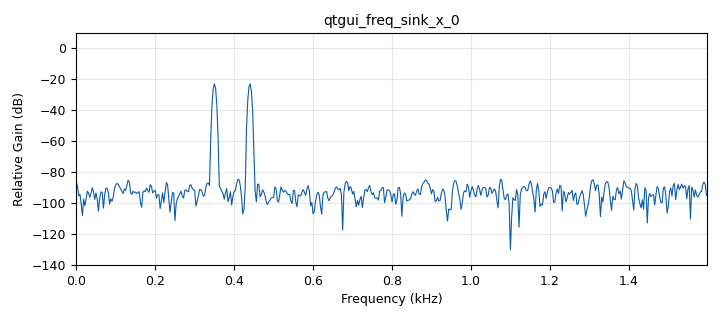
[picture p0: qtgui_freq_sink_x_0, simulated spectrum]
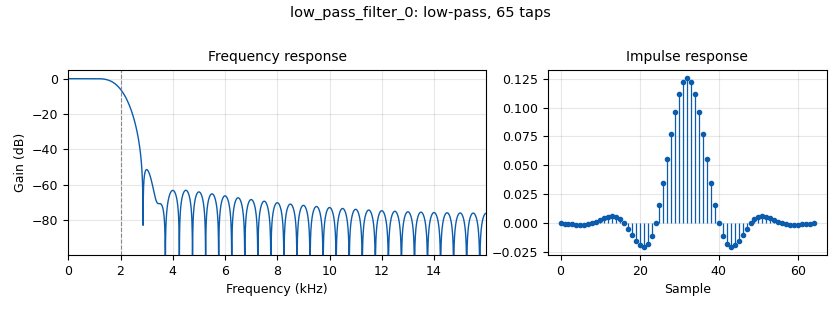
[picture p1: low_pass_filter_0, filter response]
<?xml version='1.0' encoding='utf-8'?>
<?grc format='1' created='3.7.10'?>
<flow_graph>
<block>
<key>options</key>
<param><key>id</key><value>dial_tone_interactive</value></param>
<param><key>author</key><value>Ettus Research</value></param>
<param><key>category</key><value>Custom</value></param>
<param><key>description</key><value>Interactive Dial Tone Example</value></param>
<param><key>generate_options</key><value>qt_gui</value></param>
<param><key>title</key><value>Dial Tone Interactive GUI</value></param>
</block>
<block>
<key>variable_qtgui_range</key>
<param><key>id</key><value>ampl</value></param>
<param><key>value</key><value>.4</value></param>
<param><key>gui_hint</key><value>0, 0, 1, 3</value></param>
<param><key>label</key><value>Volume</value></param>
<param><key>orient</key><value>Qt.Horizontal</value></param>
<param><key>start</key><value>0</value></param>
<param><key>step</key><value>.001</value></param>
<param><key>stop</key><value>.5</value></param>
</block>
<block>
<key>variable_qtgui_push_button</key>
<param><key>id</key><value>btn_eight</value></param>
<param><key>value</key><value>0</value></param>
<param><key>gui_hint</key><value>4, 2, 1, 2</value></param>
<param><key>label</key><value>8</value></param>
<param><key>pressed</key><value>1</value></param>
<param><key>released</key><value>0</value></param>
<param><key>type</key><value>int</value></param>
</block>
<block>
<key>variable_qtgui_push_button</key>
<param><key>id</key><value>btn_five</value></param>
<param><key>value</key><value>0</value></param>
<param><key>gui_hint</key><value>3, 2, 1, 2</value></param>
<param><key>label</key><value>5</value></param>
<param><key>pressed</key><value>1</value></param>
<param><key>released</key><value>0</value></param>
<param><key>type</key><value>int</value></param>
</block>
<block>
<key>variable_qtgui_push_button</key>
<param><key>id</key><value>btn_four</value></param>
<param><key>value</key><value>0</value></param>
<param><key>gui_hint</key><value>3, 0, 1, 2</value></param>
<param><key>label</key><value>4</value></param>
<param><key>pressed</key><value>1</value></param>
<param><key>released</key><value>0</value></param>
<param><key>type</key><value>int</value></param>
</block>
<block>
<key>variable_qtgui_push_button</key>
<param><key>id</key><value>btn_nine</value></param>
<param><key>value</key><value>0</value></param>
<param><key>gui_hint</key><value>4, 4, 1, 2</value></param>
<param><key>label</key><value>9</value></param>
<param><key>pressed</key><value>1</value></param>
<param><key>released</key><value>0</value></param>
<param><key>type</key><value>int</value></param>
</block>
<block>
<key>variable_qtgui_push_button</key>
<param><key>id</key><value>btn_one</value></param>
<param><key>value</key><value>0</value></param>
<param><key>gui_hint</key><value>2, 0, 1, 2</value></param>
<param><key>label</key><value>1</value></param>
<param><key>pressed</key><value>1</value></param>
<param><key>released</key><value>0</value></param>
<param><key>type</key><value>int</value></param>
</block>
<block>
<key>variable_qtgui_push_button</key>
<param><key>id</key><value>btn_pound</value></param>
<param><key>value</key><value>0</value></param>
<param><key>gui_hint</key><value>5, 4, 1, 2</value></param>
<param><key>label</key><value>#</value></param>
<param><key>pressed</key><value>1</value></param>
<param><key>released</key><value>0</value></param>
<param><key>type</key><value>int</value></param>
</block>
<block>
<key>variable_qtgui_push_button</key>
<param><key>id</key><value>btn_seven</value></param>
<param><key>value</key><value>0</value></param>
<param><key>gui_hint</key><value>4, 0, 1, 2</value></param>
<param><key>label</key><value>7</value></param>
<param><key>pressed</key><value>1</value></param>
<param><key>released</key><value>0</value></param>
<param><key>type</key><value>int</value></param>
</block>
<block>
<key>variable_qtgui_push_button</key>
<param><key>id</key><value>btn_six</value></param>
<param><key>value</key><value>0</value></param>
<param><key>gui_hint</key><value>3, 4, 1, 2</value></param>
<param><key>label</key><value>6</value></param>
<param><key>pressed</key><value>1</value></param>
<param><key>released</key><value>0</value></param>
<param><key>type</key><value>int</value></param>
</block>
<block>
<key>variable_qtgui_push_button</key>
<param><key>id</key><value>btn_star</value></param>
<param><key>value</key><value>0</value></param>
<param><key>gui_hint</key><value>5, 0, 1, 2</value></param>
<param><key>label</key><value>*</value></param>
<param><key>pressed</key><value>1</value></param>
<param><key>released</key><value>0</value></param>
<param><key>type</key><value>int</value></param>
</block>
<block>
<key>variable_qtgui_push_button</key>
<param><key>id</key><value>btn_three</value></param>
<param><key>value</key><value>0</value></param>
<param><key>gui_hint</key><value>2, 4, 1, 2</value></param>
<param><key>label</key><value>3</value></param>
<param><key>pressed</key><value>1</value></param>
<param><key>released</key><value>0</value></param>
<param><key>type</key><value>int</value></param>
</block>
<block>
<key>variable_qtgui_push_button</key>
<param><key>id</key><value>btn_two</value></param>
<param><key>value</key><value>0</value></param>
<param><key>gui_hint</key><value>2, 2, 1, 2</value></param>
<param><key>label</key><value>2</value></param>
<param><key>pressed</key><value>1</value></param>
<param><key>released</key><value>0</value></param>
<param><key>type</key><value>int</value></param>
</block>
<block>
<key>variable_qtgui_push_button</key>
<param><key>id</key><value>btn_zero</value></param>
<param><key>value</key><value>0</value></param>
<param><key>gui_hint</key><value>5, 2, 1, 2</value></param>
<param><key>label</key><value>0</value></param>
<param><key>pressed</key><value>1</value></param>
<param><key>released</key><value>0</value></param>
<param><key>type</key><value>int</value></param>
</block>
<block>
<key>variable</key>
<param><key>id</key><value>c1</value></param>
<param><key>value</key><value>1209</value></param>
</block>
<block>
<key>variable</key>
<param><key>id</key><value>c2</value></param>
<param><key>value</key><value>1336</value></param>
</block>
<block>
<key>variable</key>
<param><key>id</key><value>c3</value></param>
<param><key>value</key><value>1477</value></param>
</block>
<block>
<key>variable</key>
<param><key>id</key><value>dial_tone1</value></param>
<param><key>value</key><value>350</value></param>
</block>
<block>
<key>variable</key>
<param><key>id</key><value>dial_tone2</value></param>
<param><key>value</key><value>440</value></param>
</block>
<block>
<key>variable</key>
<param><key>id</key><value>freq1</value></param>
<param><key>value</key><value>r1 if btn_one or btn_two or btn_three else r2 if btn_four or btn_five or btn_six ==1 else r3 if btn_seven or btn_eight or btn_nine else r4 if btn_star or btn_zero or btn_pound else dial_tone1</value></param>
</block>
<block>
<key>variable</key>
<param><key>id</key><value>freq2</value></param>
<param><key>value</key><value>c1 if btn_one or btn_four or btn_seven or btn_star else c2 if btn_two or btn_five or btn_eight or btn_zero else c3 if btn_three or btn_six or btn_nine or btn_pound else dial_tone2</value></param>
</block>
<block>
<key>variable_qtgui_range</key>
<param><key>id</key><value>noise</value></param>
<param><key>value</key><value>0.005</value></param>
<param><key>gui_hint</key><value>0, 3, 1, 3</value></param>
<param><key>label</key><value>Noise Amplitude</value></param>
<param><key>orient</key><value>Qt.Horizontal</value></param>
<param><key>start</key><value>0</value></param>
<param><key>step</key><value>.001</value></param>
<param><key>stop</key><value>.2</value></param>
</block>
<block>
<key>variable</key>
<param><key>id</key><value>r1</value></param>
<param><key>value</key><value>697</value></param>
</block>
<block>
<key>variable</key>
<param><key>id</key><value>r2</value></param>
<param><key>value</key><value>770</value></param>
</block>
<block>
<key>variable</key>
<param><key>id</key><value>r3</value></param>
<param><key>value</key><value>852</value></param>
</block>
<block>
<key>variable</key>
<param><key>id</key><value>r4</value></param>
<param><key>value</key><value>941</value></param>
</block>
<block>
<key>variable</key>
<param><key>id</key><value>samp_rate</value></param>
<param><key>value</key><value>32000</value></param>
</block>
<block>
<key>analog_noise_source_x</key>
<param><key>id</key><value>analog_noise_source_x_0</value></param>
<param><key>amp</key><value>noise</value></param>
<param><key>noise_type</key><value>analog.GR_GAUSSIAN</value></param>
<param><key>type</key><value>float</value></param>
<param><key>seed</key><value>-42</value></param>
</block>
<block>
<key>analog_sig_source_x</key>
<param><key>id</key><value>analog_sig_source_x_0</value></param>
<param><key>amp</key><value>ampl</value></param>
<param><key>freq</key><value>freq1</value></param>
<param><key>offset</key><value>0</value></param>
<param><key>type</key><value>float</value></param>
<param><key>samp_rate</key><value>samp_rate</value></param>
<param><key>waveform</key><value>analog.GR_COS_WAVE</value></param>
</block>
<block>
<key>analog_sig_source_x</key>
<param><key>id</key><value>analog_sig_source_x_1</value></param>
<param><key>amp</key><value>ampl</value></param>
<param><key>freq</key><value>freq2</value></param>
<param><key>offset</key><value>0</value></param>
<param><key>type</key><value>float</value></param>
<param><key>samp_rate</key><value>samp_rate</value></param>
<param><key>waveform</key><value>analog.GR_COS_WAVE</value></param>
</block>
<block>
<key>audio_sink</key>
<param><key>id</key><value>audio_sink</value></param>
<param><key>samp_rate</key><value>32000</value></param>
</block>
<block>
<key>blocks_add_xx</key>
<param><key>id</key><value>blocks_add_xx</value></param>
<param><key>type</key><value>float</value></param>
<param><key>num_inputs</key><value>3</value></param>
</block>
<block>
<key>low_pass_filter</key>
<param><key>id</key><value>low_pass_filter_0</value></param>
<param><key>cutoff_freq</key><value>2e3</value></param>
<param><key>decim</key><value>10</value></param>
<param><key>type</key><value>fir_filter_fff</value></param>
<param><key>gain</key><value>1</value></param>
<param><key>samp_rate</key><value>samp_rate</value></param>
<param><key>width</key><value>1200</value></param>
<param><key>win</key><value>firdes.WIN_HAMMING</value></param>
</block>
<block>
<key>note</key>
<param><key>id</key><value>note_0</value></param>
<param><key>note</key><value>697 hz</value></param>
</block>
<block>
<key>note</key>
<param><key>id</key><value>note_0_0</value></param>
<param><key>note</key><value>770 Hz</value></param>
</block>
<block>
<key>note</key>
<param><key>id</key><value>note_0_0_0</value></param>
<param><key>note</key><value>852 Hz</value></param>
</block>
<block>
<key>note</key>
<param><key>id</key><value>note_0_0_1</value></param>
<param><key>note</key><value>941 Hz</value></param>
</block>
<block>
<key>note</key>
<param><key>id</key><value>note_0_0_2</value></param>
<param><key>note</key><value>1209 Hz</value></param>
</block>
<block>
<key>note</key>
<param><key>id</key><value>note_0_0_3</value></param>
<param><key>note</key><value>1336 Hz</value></param>
</block>
<block>
<key>note</key>
<param><key>id</key><value>note_0_0_4</value></param>
<param><key>note</key><value>1477 Hz</value></param>
</block>
<block>
<key>qtgui_freq_sink_x</key>
<param><key>id</key><value>qtgui_freq_sink_x_0</value></param>
<param><key>bw</key><value>samp_rate/10</value></param>
<param><key>fc</key><value>0</value></param>
<param><key>fftsize</key><value>1024</value></param>
<param><key>gui_hint</key><value>1, 0, 1, 6</value></param>
<param><key>showports</key><value>True</value></param>
<param><key>freqhalf</key><value>False</value></param>
<param><key>type</key><value>float</value></param>
<param><key>wintype</key><value>firdes.WIN_BLACKMAN_hARRIS</value></param>
</block>
<connection><source_block_id>analog_noise_source_x_0</source_block_id><sink_block_id>blocks_add_xx</sink_block_id><source_key>0</source_key><sink_key>2</sink_key></connection>
<connection><source_block_id>analog_sig_source_x_0</source_block_id><sink_block_id>blocks_add_xx</sink_block_id><source_key>0</source_key><sink_key>0</sink_key></connection>
<connection><source_block_id>analog_sig_source_x_1</source_block_id><sink_block_id>blocks_add_xx</sink_block_id><source_key>0</source_key><sink_key>1</sink_key></connection>
<connection><source_block_id>blocks_add_xx</source_block_id><sink_block_id>audio_sink</sink_block_id><source_key>0</source_key><sink_key>0</sink_key></connection>
<connection><source_block_id>blocks_add_xx</source_block_id><sink_block_id>low_pass_filter_0</sink_block_id><source_key>0</source_key><sink_key>0</sink_key></connection>
<connection><source_block_id>low_pass_filter_0</source_block_id><sink_block_id>qtgui_freq_sink_x_0</sink_block_id><source_key>0</source_key><sink_key>0</sink_key></connection>
</flow_graph>
